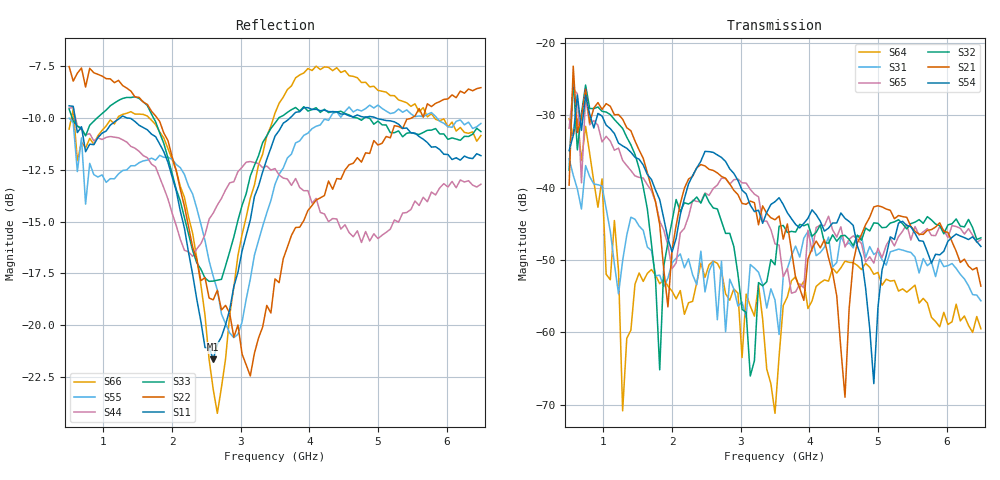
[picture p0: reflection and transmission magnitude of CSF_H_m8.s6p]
!Keysight Technologies,M9804A,MY58100912,A.14.10.03
!Date: Thursday, April 27, 2023 10:28:33
!Correction: S11(C  6-Port  )
!S12(C  6-Port  )
!S13(C  6-Port  )
!S14(C  6-Port  )
!S15(C  6-Port  )
!S16(C  6-Port  )
!S21(C  6-Port  )
!S22(C  6-Port  )
!S23(C  6-Port  )
!S24(C  6-Port  )
!S25(C  6-Port  )
!S26(C  6-Port  )
!S31(C  6-Port  )
!S32(C  6-Port  )
!S33(C  6-Port  )
!S34(C  6-Port  )
!S35(C  6-Port  )
!S36(C  6-Port  )
!S41(C  6-Port  )
!S42(C  6-Port  )
!S43(C  6-Port  )
!S44(C  6-Port  )
!S45(C  6-Port  )
!S46(C  6-Port  )
!S51(C  6-Port  )
!S52(C  6-Port  )
!S53(C  6-Port  )
!S54(C  6-Port  )
!S55(C  6-Port  )
!S56(C  6-Port  )
!S61(C  6-Port  )
!S62(C  6-Port  )
!S63(C  6-Port  )
!S64(C  6-Port  )
!S65(C  6-Port  )
!S66(C  6-Port  )
!S6P File: Measurement: :
# Hz S  RI  R 50
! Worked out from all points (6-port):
!   101 points, 500 MHz to 6.5 GHz, reference 50 ohm
!   strongest paths, dB at 500 MHz, 2 GHz, 3.5 GHz, 5 GHz, 6.5 GHz:
!     S54: -34.9, -48.9, -41.9, -56.6, -48.1
!     S21: -39.7, -48.6, -44.4, -42.5, -53.6
!     S32: -37.6, -44.6, -50.7, -44.9, -46.9
!     S65: -31.8, -51.2, -47.8, -48.4, -47.2
!     S31: -36.0, -50.4, -55.6, -48.8, -55.7
!     S64: -30.5, -54.3, -71.2, -51.7, -59.5
!   lowest |S11| = -21.6 dB at 2.6 GHz (marker M1), VSWR 1.18, Z = 42.6 + j2.04 ohm
!   |S11| at or under -10 dB: 586.8 MHz to 1.239 GHz (652.4 MHz wide, 71.5 % of centre); 1.361 GHz to 3.717 GHz (2.356 GHz wide, 92.8 % of centre); 4.975 GHz to end of sweep
